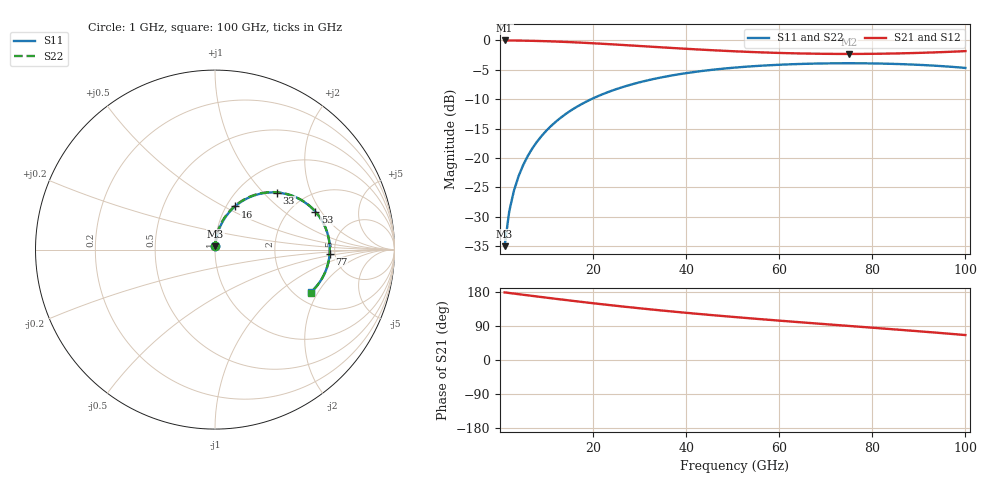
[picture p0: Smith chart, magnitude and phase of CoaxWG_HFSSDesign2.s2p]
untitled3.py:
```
# -*- coding: utf-8 -*-
"""
Created on Wed Oct 13 10:37:18 2021

@author: erdoel
"""


import touchstone
import numpy as np
spp = touchstone.spfile("CoaxWG_HFSSDesign2.s2p")
L, Z = touchstone.extractRLGC(spp, 0.01)
print(Z)
import matplotlib.pyplot as plt
plt.plot(spp.get_frequency_list(),np.real(Z))
# plt.plot(spp.get_frequency_list(),np.real(L)*1e9)
plt.ylim([-10,200])
plt.show()
```
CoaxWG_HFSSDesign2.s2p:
! Touchstone file exported from HFSS 2020.2.0
!  File:  /home/erdoel/scratch/Other/CoaxWG.aedt
!  Generated:  12:00:56 PM  Oct 13, 2021
!  Design:  HFSSDesign2
!  Project:  CoaxWG
!  Setup:  Setup1
!  Solution:  Sweep
! Variables:
!  length = 1mm
!  th = 0.05mm
!  w = 0.2mm
# GHZ S MA R 50.000000
! Terminal data exported
! Port[1] = 1
! Port[2] = 2
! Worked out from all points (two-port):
!   100 points, 1 GHz to 100 GHz, reference 50 ohm
!   highest |S21| = 0.00 dB at 1 GHz (marker M1); lowest = -2.3 dB at 75 GHz (marker M2)
!   |S21| within 3 dB of the highest: start of sweep to end of sweep
!   lowest |S11| = -35.0 dB at 1 GHz (marker M3), VSWR 1.04, Z = 50.2 + j1.77 ohm
!   |S11| at or under -10 dB: start of sweep to 19.61 GHz
!   |S22| runs from -35.1 to -3.9 dB; largest |S21 - S12| = 1.9e-15
!   S11 on the Smith chart (normalised r, x): 1 GHz: 1.00, +0.04; 16 GHz: 1.10, +0.57; 33 GHz: 1.47, +1.20; 53 GHz: 2.70, +1.77; 77 GHz: 4.52, -0.35; 100 GHz: 2.40, -1.73
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1  0.0178 83.1  0.9997 178.4  0.9997 178.4  0.01761 92.7
! Gamma 0.106938665141216 21.0755280355261 0.103829677701408 21.0702500398888
! Port Impedance 50 0 50 0
3  0.05268 83.3  0.9983 175.3  0.9983 175.3  0.05254 86.6
5  0.08728 80.9  0.9958 172.2  0.9958 172.2  0.08717 82.9
9  0.1549 75.3  0.9874 166.0  0.9874 166.0  0.1548 76.4
16  0.265 65.1  0.9636 155.5  0.9636 155.5  0.2649 65.7
33  0.4696 42.6  0.882 132.8  0.882 132.8  0.4696 42.8
51  0.5899 22.7  0.8066 112.8  0.8066 112.8  0.5899 22.8
53  0.5983 20.6  0.8004 110.8  0.8004 110.8  0.5982 20.8
75  0.6397 -0.2  0.7678 89.8  0.7678 89.8  0.6397 -0.2
77  0.6393 -2.0  0.7681 88.0  0.7681 88.0  0.6393 -2.0
100  0.5835 -24.1  0.8112 65.8  0.8112 65.8  0.5835 -24.2
